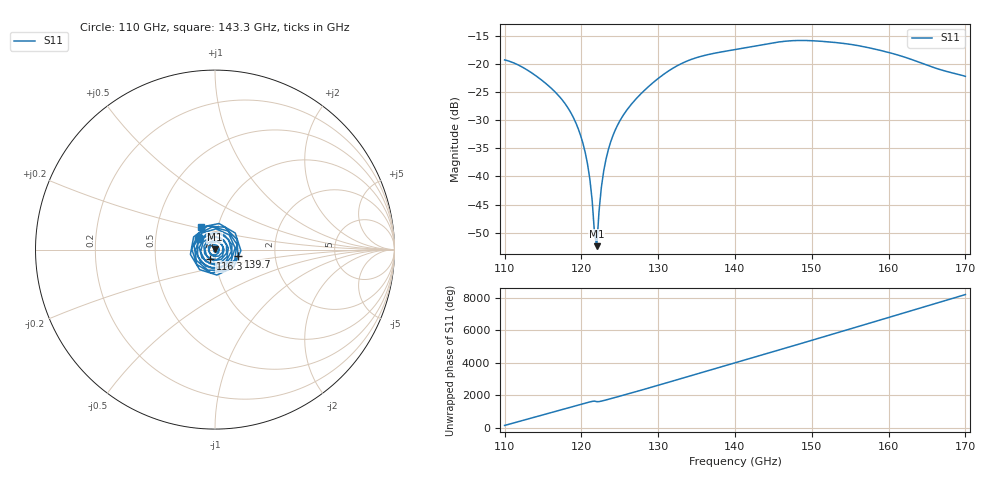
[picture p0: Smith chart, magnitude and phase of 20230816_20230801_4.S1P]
! C:\Users\Solidworker\Documents\VNA\mmiller\20230816\20230816_20230801_4.S1P
! Touchstone 1.1 file saved by VNA.EXE V1.65 (www.ke5fx.com/gpib/readme.htm)
! 8/16/2023 3:03:09 PM
!  Source: HP8510C.07.10: Mar 30  1995
!  Min freq: 1.100000E+011 Hz
!  Max freq: 1.700000E+011 Hz
!  Points: 201
!  Params: S11
# GHZ S MA R 50
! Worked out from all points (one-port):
!   201 points, 110 GHz to 170 GHz, reference 50 ohm
!   lowest |S11| = -52.4 dB at 122 GHz (marker M1), VSWR 1.00, Z = 49.8 + j0.0621 ohm
!   |S11| at or under -10 dB: start of sweep to end of sweep
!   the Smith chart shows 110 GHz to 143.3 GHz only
!   S11 on the Smith chart (normalised r, x): 110 GHz: 0.83, +0.11; 116.3 GHz: 0.94, -0.10; 139.7 GHz: 1.29, -0.10; 143.3 GHz: 0.83, +0.21
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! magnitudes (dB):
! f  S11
! 110 GHz  -19.2
! 113 GHz  -21.1
! 116.3 GHz  -24.6
! 117.5 GHz  -26.3
! 119.3 GHz  -30.5
! 119.9 GHz  -32.7
! 120.5 GHz  -35.7
! 121.1 GHz  -40.5
! 121.4 GHz  -44.2
! 121.7 GHz  -50.0
! 122 GHz  -52.4
! 122.3 GHz  -46.1
! 122.6 GHz  -41.9
! 122.9 GHz  -39.1
! 123.2 GHz  -36.9
! 123.8 GHz  -33.9
! 125 GHz  -30.1
! 126.2 GHz  -27.6
! 128 GHz  -24.9
! 132.5 GHz  -20.2
! 135.5 GHz  -18.6
! 139.7 GHz  -17.5
! 140 GHz  -17.4
! 143.3 GHz  -16.6
! 147.5 GHz  -15.8
! 155 GHz  -16.4
! 162.5 GHz  -18.9
! 170 GHz  -22.2
